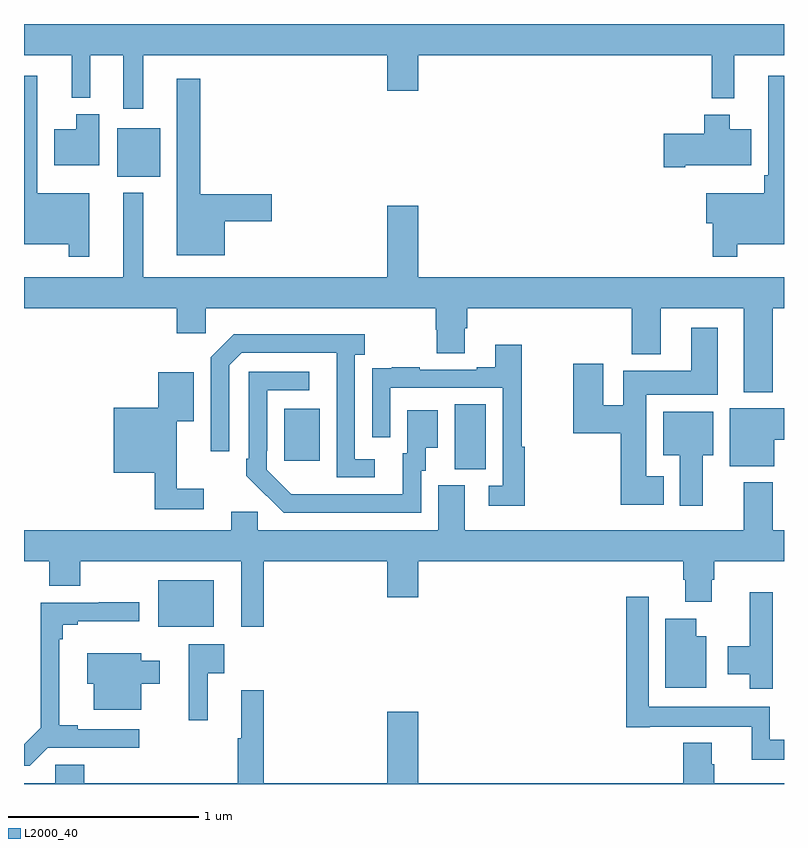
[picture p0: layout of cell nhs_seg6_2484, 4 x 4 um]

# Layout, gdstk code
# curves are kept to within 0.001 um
import gdstk
lib = gdstk.Library(unit=1e-6, precision=1e-09)
def R(c, l, rs):  # rectangles x0, y0, x1, y1
    for r in rs: c.add(gdstk.rectangle(r[:2], r[2:], *l))
def P(c, l, *ps):  # polygons
    for p in ps: c.add(gdstk.Polygon(p, *l))
L2000_40 = (2000, 40)

nhs_seg6_2484 = lib.new_cell('nhs_seg6_2484')
R(nhs_seg6_2484, L2000_40, [(259.706,944.327,259.999,944.572), (261.266,945.157,261.43,945.5), (260.369,945.201,260.557,945.475), (259.49,946.697,259.717,946.951)])
P(nhs_seg6_2484, L2000_40, [(259,947.336),(259.25,947.336),(259.25,947.111),(259.348,947.111),(259.348,947.336),(259.523,947.336),(259.523,947.055),(259.627,947.055),(259.627,947.336),(260.912,947.336),(260.912,947.148),(261.076,947.148),(261.076,947.336),(262.621,947.336),(262.621,947.108),(262.739,947.108),(262.739,947.336),(263,947.336),(263,947.5),(259,947.5)],
  [(262.753,946.34),(263,946.34),(263,947.227),(262.917,947.227),(262.917,946.705),(262.897,946.705),(262.897,946.609),(262.59,946.609),(262.59,946.451),(262.624,946.451),(262.624,946.275),(262.753,946.275)],
  [(259.344,946.609),(259.071,946.609),(259.071,947.227),(259,947.227),(259,946.34),(259.236,946.34),(259.236,946.275),(259.344,946.275)],
  [(260.056,946.462),(260.305,946.462),(260.305,946.604),(259.927,946.604),(259.927,947.212),(259.805,947.212),(259.805,946.283),(260.056,946.283)],
  [(259.396,947.026),(259.274,947.026),(259.274,946.945),(259.16,946.945),(259.16,946.757),(259.396,946.757)],
  [(262.48,946.757),(262.828,946.757),(262.828,946.945),(262.714,946.945),(262.714,947.023),(262.58,947.023),(262.58,946.923),(262.368,946.923),(262.368,946.745),(262.48,946.745)],
  [(262.94,946.004),(263,946.004),(263,946.168),(261.076,946.168),(261.076,946.543),(260.912,946.543),(260.912,946.168),(259.627,946.168),(259.627,946.612),(259.523,946.612),(259.523,946.168),(259,946.168),(259,946.004),(259.805,946.004),(259.805,945.873),(259.956,945.873),(259.956,946.004),(261.166,946.004),(261.166,945.891),(261.172,945.891),(261.172,945.766),(261.319,945.766),(261.319,945.898),(261.332,945.898),(261.332,946.004),(262.199,946.004),(262.199,945.761),(262.351,945.761),(262.351,946.004),(262.787,946.004),(262.787,945.563),(262.94,945.563)],
  [(262.366,945.121),(262.276,945.121),(262.276,945.548),(262.651,945.548),(262.651,945.901),(262.511,945.901),(262.511,945.676),(262.154,945.676),(262.154,945.494),(262.048,945.494),(262.048,945.712),(261.89,945.712),(261.89,945.347),(262.142,945.347),(262.142,944.969),(262.366,944.969)],
  [(260.845,945.21),(260.742,945.21),(260.742,945.758),(260.794,945.758),(260.794,945.868),(260.104,945.868),(259.983,945.747),(259.983,945.252),(260.079,945.252),(260.079,945.705),(260.145,945.771),(260.645,945.771),(260.646,945.114),(260.845,945.114)],
  [(261.635,945.276),(261.62,945.276),(261.62,945.811),(261.479,945.811),(261.479,945.694),(261.383,945.694),(261.383,945.681),(261.083,945.681),(261.083,945.694),(260.935,945.694),(260.935,945.687),(260.833,945.687),(260.833,945.578),(260.832,945.578),(260.832,945.324),(260.928,945.324),(260.928,945.585),(261.519,945.585),(261.519,945.069),(261.447,945.069),(261.447,944.964),(261.635,944.964)],
  [(261.09,945.15),(261.115,945.15),(261.115,945.269),(261.178,945.269),(261.178,945.466),(261.017,945.466),(261.017,945.24),(260.993,945.24),(260.993,945.024),(260.406,945.025),(260.277,945.153),(260.277,945.253),(260.28,945.253),(260.28,945.573),(260.5,945.573),(260.5,945.669),(260.184,945.669),(260.184,945.211),(260.169,945.211),(260.169,945.123),(260.366,944.928),(261.09,944.928)],
  [(259.945,945.055),(259.805,945.055),(259.805,945.41),(259.894,945.41),(259.894,945.667),(259.706,945.667),(259.706,945.481),(259.472,945.481),(259.472,945.137),(259.687,945.137),(259.687,944.946),(259.945,944.946)],
  [(262.948,945.313),(263,945.313),(263,945.478),(262.715,945.478),(262.715,945.173),(262.948,945.173)],
  [(262.573,945.23),(262.627,945.23),(262.627,945.46),(262.364,945.46),(262.364,945.23),(262.451,945.23),(262.451,944.964),(262.573,944.964)],
  [(260.261,944.672),(260.912,944.672),(260.912,944.484),(261.076,944.484),(261.076,944.672),(262.469,944.672),(262.469,944.574),(262.481,944.574),(262.481,944.46),(262.621,944.46),(262.621,944.574),(262.634,944.574),(262.634,944.672),(263,944.672),(263,944.836),(262.94,944.836),(262.94,945.088),(262.787,945.088),(262.787,944.836),(261.319,944.836),(261.319,945.072),(261.179,945.072),(261.179,944.836),(260.229,944.836),(260.229,944.934),(260.09,944.934),(260.09,944.836),(259,944.836),(259,944.672),(259.133,944.672),(259.133,944.544),(259.297,944.544),(259.297,944.672),(260.144,944.672),(260.144,944.328),(260.261,944.328)],
  [(262.942,944.509),(262.82,944.509),(262.82,944.226),(262.703,944.226),(262.703,944.078),(262.82,944.078),(262.82,944.001),(262.942,944.001)],
  [(263,943.732),(262.926,943.732),(262.926,943.906),(262.287,943.906),(262.287,944.485),(262.171,944.485),(262.171,943.8),(262.294,943.8),(262.294,943.802),(262.829,943.802),(262.829,943.628),(263,943.628)],
  [(259.126,943.692),(259.606,943.691),(259.606,943.788),(259.282,943.788),(259.282,943.808),(259.186,943.808),(259.186,944.261),(259.205,944.261),(259.205,944.338),(259.282,944.338),(259.282,944.357),(259.606,944.357),(259.606,944.456),(259.393,944.456),(259.393,944.454),(259.089,944.454),(259.089,943.797),(259,943.708),(259,943.596),(259.03,943.596)],
  [(262.591,944.278),(262.537,944.278),(262.537,944.371),(262.376,944.371),(262.376,944.006),(262.591,944.006)],
  [(259.967,944.084),(260.053,944.084),(260.053,944.236),(259.868,944.236),(259.868,943.836),(259.967,943.836)],
  [(259.618,944.027),(259.714,944.027),(259.714,944.149),(259.618,944.149),(259.618,944.188),(259.334,944.188),(259.334,944.027),(259.367,944.027),(259.367,943.892),(259.618,943.892)],
  [(263,943.504),(262.634,943.504),(262.634,943.605),(262.621,943.605),(262.621,943.717),(262.469,943.717),(262.469,943.504),(261.076,943.504),(261.076,943.879),(260.912,943.879),(260.912,943.504),(260.261,943.504),(260.261,943.993),(260.144,943.993),(260.144,943.74),(260.125,943.74),(260.125,943.504),(259.316,943.504),(259.316,943.602),(259.164,943.602),(259.164,943.504),(259,943.504),(259,943.5),(263,943.5)])

lib.write_gds('nhs_seg6_2484.gds')
